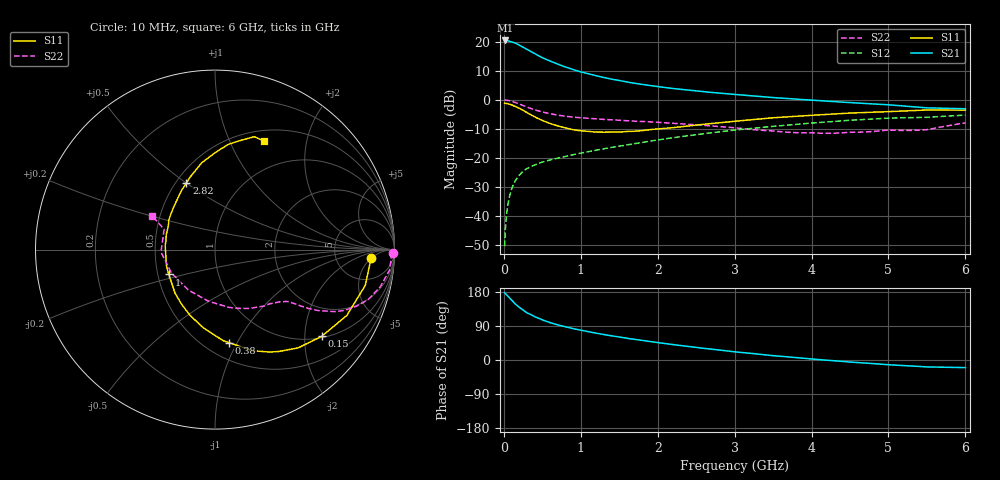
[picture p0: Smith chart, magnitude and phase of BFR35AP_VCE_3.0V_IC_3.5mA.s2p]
! Infineon Technologies  Discrete & RF Semiconductors
! BFR35AP
! VCE =  3.0 V,  IC =  3.5 mA
! Common Emitter S-Parameters:  Nov 2015
# GHz  S  MA  R  50
!  f  S11  S21  S12  S22
! GHz  MAG  ANG  MAG  ANG  MAG  ANG  MAG  ANG
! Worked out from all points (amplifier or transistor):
!   210 points, 10 MHz to 6 GHz, reference 50 ohm
!   highest |S21| = 20.4 dB at 20 MHz (marker M1)
!   |S21| within 3 dB of that: start of sweep to 297.5 MHz
!   unconditionally stable (mu >= 1): 919.1 MHz to 3.82 GHz
!   at 185 MHz: K = 0.30, MSG = 22.8 dB, |S12| = -26.5 dB
!   at 1.52 GHz: K = 1.14, MAG = 8.9 dB, |S12| = -15.9 dB
!   at 6 GHz: K = 0.97, MSG = 1.1 dB, |S12| = -5.3 dB
!   S11 on the Smith chart (normalised r, x): 10 MHz: 13, -5; 150 MHz: 1.04, -2.43; 380 MHz: 0.65, -0.93; 1 GHz: 0.57, -0.17; 2.82 GHz: 0.57, +0.50; 6 GHz: 0.63, +1.35
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0.01  0.8725 -2.9  10.42 177.9  0.003 89.1  0.9946 -1.2
0.02  0.8659 -5.6  10.52 175.3  0.0059 87.5  0.983 -2.6
0.05  0.8607 -13.4  10.44 168.7  0.0149 83.3  0.9799 -6.6
0.1  0.8212 -26.5  9.975 158.3  0.0289 76.4  0.9452 -12.5
0.15  0.7661 -39.1  9.486 147.4  0.0405 69.0  0.8986 -18.0
0.2  0.7171 -49.8  8.749 139.2  0.05 64.5  0.8475 -21.9
0.26  0.6475 -61.8  7.905 130.0  0.06 59.9  0.7881 -25.6
0.3  0.602 -69.5  7.417 124.5  0.0652 57.9  0.7488 -27.5
0.38  0.5245 -81.4  6.473 116.8  0.0732 54.6  0.6858 -29.8
0.4  0.5093 -84.9  6.259 114.5  0.0752 53.9  0.6702 -30.5
0.5  0.4413 -98.4  5.292 105.7  0.0843 52.0  0.6155 -32.2
0.6  0.3911 -111.0  4.648 98.6  0.092 51.2  0.5752 -33.2
0.8  0.3287 -132.8  3.663 87.3  0.1056 51.2  0.5198 -34.7
1  0.2924 -151.8  3.025 78.5  0.1201 51.6  0.4893 -36.2
1.02  0.2905 -153.6  2.978 77.8  0.1216 51.7  0.487 -36.4
1.4  0.2785 175.4  2.263 63.8  0.1507 52.5  0.4517 -40.8
2.02  0.3155 141.3  1.672 45.4  0.2046 51.2  0.4077 -51.1
2.82  0.4031 113.3  1.296 25.8  0.2816 45.7  0.3452 -71.1
3.1  0.4378 106.8  1.206 19.7  0.3095 42.9  0.3186 -80.6
4.1  0.5493 88.4  0.965 1.0  0.4056 31.2  0.2658 -129.1
5.1  0.632 75.6  0.8 -13.6  0.4853 17.1  0.2976 177.7
6  0.6632 65.7  0.7 -20.1  0.5443 6.5  0.4 151.7
